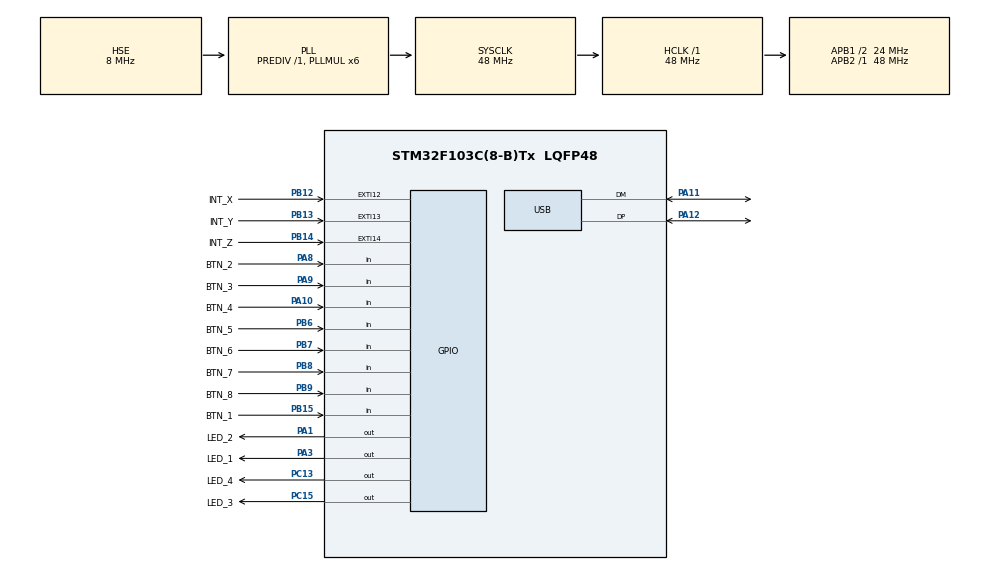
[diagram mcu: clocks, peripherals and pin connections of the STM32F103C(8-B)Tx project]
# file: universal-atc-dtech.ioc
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Mcu.Family=STM32F1
Mcu.Name=STM32F103C(8-B)Tx
Mcu.Package=LQFP48
NVIC.EXTI15_10_IRQn=true\:0\:0\:false\:false\:true\:true\:true\:true
NVIC.PriorityGroup=NVIC_PRIORITYGROUP_4
NVIC.RTC_IRQn=true\:0\:0\:false\:false\:true\:true\:true\:true
NVIC.USB_LP_CAN1_RX0_IRQn=true\:0\:0\:false\:false\:true\:false\:true\:true
PA1.GPIO_Label=LED_2
PA1.Signal=GPIO_Output
PA10.GPIO_Label=BTN_4
PA10.GPIO_Mode=GPIO_MODE_INPUT
PA10.GPIO_PuPd=GPIO_PULLUP
PA10.Signal=GPIO_Input
PA11.Mode=Device
PA11.Signal=USB_DM
PA12.Mode=Device
PA12.Signal=USB_DP
PA3.GPIO_Label=LED_1
PA3.Signal=GPIO_Output
PA8.GPIO_Label=BTN_2
PA8.GPIO_Mode=GPIO_MODE_INPUT
PA8.GPIO_PuPd=GPIO_PULLUP
PA8.Signal=GPIO_Input
PA9.GPIO_Label=BTN_3
PA9.GPIO_Mode=GPIO_MODE_INPUT
PA9.GPIO_PuPd=GPIO_PULLUP
PA9.Signal=GPIO_Input
PB12.GPIO_Label=INT_X
PB12.GPIO_ModeDefaultEXTI=GPIO_MODE_IT_RISING
PB12.GPIO_PuPd=GPIO_NOPULL
PB12.Signal=GPXTI12
PB13.GPIO_Label=INT_Y
PB13.GPIO_ModeDefaultEXTI=GPIO_MODE_IT_RISING
PB13.GPIO_PuPd=GPIO_NOPULL
PB13.Signal=GPXTI13
PB14.GPIO_Label=INT_Z
PB14.GPIO_ModeDefaultEXTI=GPIO_MODE_IT_RISING
PB14.GPIO_PuPd=GPIO_NOPULL
PB14.Signal=GPXTI14
PB15.GPIO_Label=BTN_1
PB15.GPIO_Mode=GPIO_MODE_INPUT
PB15.GPIO_PuPd=GPIO_PULLUP
PB15.Signal=GPIO_Input
PB6.GPIO_Label=BTN_5
PB6.GPIO_Mode=GPIO_MODE_INPUT
PB6.GPIO_PuPd=GPIO_PULLUP
PB6.Signal=GPIO_Input
PB7.GPIO_Label=BTN_6
PB7.GPIO_Mode=GPIO_MODE_INPUT
PB7.GPIO_PuPd=GPIO_PULLUP
PB7.Signal=GPIO_Input
PB8.GPIO_Label=BTN_7
PB8.GPIO_Mode=GPIO_MODE_INPUT
PB8.GPIO_PuPd=GPIO_PULLUP
PB8.Signal=GPIO_Input
PB9.GPIO_Label=BTN_8
PB9.GPIO_Mode=GPIO_MODE_INPUT
PB9.GPIO_PuPd=GPIO_PULLUP
PB9.Signal=GPIO_Input
PC13-TAMPER-RTC.GPIO_Label=LED_4
PC13-TAMPER-RTC.Signal=GPIO_Output
PC15-OSC32_OUT.GPIO_Label=LED_3
PC15-OSC32_OUT.Signal=GPIO_Output
PD0-OSC_IN.Mode=HSE-External-Oscillator
PD0-OSC_IN.Signal=RCC_OSC_IN
PD1-OSC_OUT.Mode=HSE-External-Oscillator
PD1-OSC_OUT.Signal=RCC_OSC_OUT
ProjectManager.HeapSize=0x200
ProjectManager.StackSize=0x400
ProjectManager.TargetToolchain=STM32CubeIDE
RCC.AHBFreq_Value=48000000
RCC.APB1CLKDivider=RCC_HCLK_DIV2
RCC.APB1Freq_Value=24000000
RCC.APB1TimFreq_Value=48000000
RCC.APB2Freq_Value=48000000
RCC.APB2TimFreq_Value=48000000
RCC.HCLKFreq_Value=48000000
RCC.PLLMUL=RCC_PLL_MUL6
RCC.SYSCLKFreq_VALUE=48000000
RCC.SYSCLKSource=RCC_SYSCLKSOURCE_PLLCLK
RCC.USBFreq_Value=48000000
USB_DEVICE.CLASS_NAME_FS=CDC
USB_DEVICE.VirtualMode=Cdc
USB_DEVICE.VirtualModeFS=Cdc_FS
VP_FATFS_VS_Generic.Mode=User_defined
VP_RTC_No_RTC_Output.Mode=RTC_OUT_NO
VP_RTC_VS_RTC_Activate.Mode=RTC_Enabled
VP_SYS_VS_ND.Mode=No_Debug
VP_USB_DEVICE_VS_USB_DEVICE_CDC_FS.Mode=CDC_FS
board=custom

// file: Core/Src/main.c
/* USER CODE BEGIN Header */
/**
 ******************************************************************************
 * @file           : main.c
 * @brief          : Main program body
 ******************************************************************************
 * @attention
 *
 * Copyright (c) 2024 STMicroelectronics.
 * All rights reserved.
 *
 * This software is licensed under terms that can be found in the LICENSE file
 * in the root directory of this software component.
 * If no LICENSE file comes with this software, it is provided AS-IS.
 *
 ******************************************************************************
 */
/* USER CODE END Header */
#include "main.h"
#include "fatfs.h"
#include "usb_device.h"

/* USER CODE BEGIN Includes */
#include "usbd_cdc_if.h"
// #include "string.h"
#include "stdio.h"
#include "FEE.h"
#include <stm32f103xb.h>
/* USER CODE END Includes */

/* USER CODE BEGIN PD */
// #define TIPE_EMULASI 5
#define NUM_LEDS 4
#define NUM_INTERRUPT 3
#define NUM_BUTTONS 8
#define DEBOUNCE_DELAY 50 // Debounce delay dalam ms
#define EMULASI_QUESTION_MARK 1 // 1 output verbose menggunakan ? 0 dengan verbose delay

// definisi address dari variabel yang dapat diubah oleh $
#define SET_WAKTU_TIMER_OLI_ADDRESS ((uint32_t)0x0800F040)     //$1
#define SET_WAKTU_POMPA_OLI_ON_ADDRESS ((uint32_t)0x0800F050)  //$2
#define TIPE_EMULASI_ADDRESS ((uint32_t)0x0800F000)       //$3
#define AUTO_COUNTER_DELAY_ADDRESS ((uint32_t)0x0800F010) //$4
#define VERBOSE_DELAY_ADDRESS ((uint32_t)0x0800F020)      //$5
#define ARAH_AUTO_COUNTER_ADDRESS ((uint32_t)0x0800F030)  //$6 0 aritnya bertambah 1 artinya berkurang

// #define verbose_delay 200 // Debounce delay dalam ms
/* USER CODE END PD */

RTC_HandleTypeDef hrtc;

/* USER CODE BEGIN PV */
/* ----------------------- variabel yang dapat diubah $ --------------------------- */
uint32_t set_waktu_timer_oli; //$1 waktu dalam menit, default 15 menit
uint32_t set_waktu_pompa_oli_on; //$2 waktu dalam detik, default 5 detik
// 0 = emulasi button / switch
// 1 = emulasi latch
// 2 = emulasi counter auto
// 3 = emulasi counter button
// 4 = emulasi input interrupt pulse xyz
// 5 = emulasi board oli mk2
// 6 = hanya echo perintah dari pc
uint32_t tipe_emulasi; //$3 tergantung nilai yang dibaca di eeprom
uint32_t auto_counter_delay; //$4 default 1000 (1 detik)
uint32_t verbose_delay; //$5 default 0
uint32_t arah_auto_counter; //$6 0 aritnya bertambah 1 artinya berkurang

uint8_t nilai_emulasi_counter = 0;
uint32_t waktu_timer_oli = 0;
uint8_t keadaan_pompa_oli = 0;
uint8_t reset_pompa_oli = 0;
uint8_t tampilkan_verbose = 0;
uint8_t baca_dan_tampilkan_flash = 0;
// nilai counter untuk axis x y dan z
volatile int_fast32_t nilai_counter_axis[3] = { 0, 0, 0 };
uint8_t latch_states = 0;
uint8_t button_states = 0;
// list interrupt pin
GPIO_TypeDef *interrupt_ports[NUM_INTERRUPT] = {
INT_X_GPIO_Port, INT_Y_GPIO_Port,
INT_Z_GPIO_Port };
const uint16_t interrupt_pins[NUM_INTERRUPT] = {
INT_X_Pin, INT_Y_Pin, INT_Z_Pin };
// list led gpio
GPIO_TypeDef *led_ports[NUM_LEDS] = {
LED_1_GPIO_Port, LED_2_GPIO_Port,
LED_3_GPIO_Port, LED_4_GPIO_Port };
const uint16_t led_pins[NUM_LEDS] = {
LED_1_Pin, LED_2_Pin, LED_3_Pin, LED_4_Pin };
// list button gpio
GPIO_TypeDef *button_ports[NUM_BUTTONS] = {
BTN_1_GPIO_Port, BTN_2_GPIO_Port, BTN_3_GPIO_Port,
BTN_4_GPIO_Port, BTN_5_GPIO_Port, BTN_6_GPIO_Port,
BTN_7_GPIO_Port, BTN_8_GPIO_Port };
const uint16_t button_pins[NUM_BUTTONS] = {
BTN_1_Pin,
BTN_2_Pin,
BTN_3_Pin,
BTN_4_Pin,
BTN_5_Pin,
BTN_6_Pin,
BTN_7_Pin,
BTN_8_Pin, };
uint32_t last_button_press_time[NUM_BUTTONS] = { 0 }; // Variabel untuk debounce

uint32_t last_verbose_time = 0;
uint32_t last_auto_counter_time = 0;
/* USER CODE END PV */

void SystemClock_Config(void);
static void MX_GPIO_Init(void);
static void MX_RTC_Init(void);
void USB_CDC_RxHandler(uint8_t*, uint32_t);

/* USER CODE BEGIN 0 */
// baca nilai pada flash memory
void baca_nilai_pada_flash(void) {
 FEE_ReadData(SET_WAKTU_TIMER_OLI_ADDRESS, &set_waktu_timer_oli, sizeof(uint32_t));
 FEE_ReadData(SET_WAKTU_POMPA_OLI_ON_ADDRESS, &set_waktu_pompa_oli_on, sizeof(uint32_t));
 FEE_ReadData(TIPE_EMULASI_ADDRESS, &tipe_emulasi, sizeof(uint32_t));
 FEE_ReadData(AUTO_COUNTER_DELAY_ADDRESS, &auto_counter_delay, sizeof(uint32_t));
 FEE_ReadData(VERBOSE_DELAY_ADDRESS, &verbose_delay, sizeof(uint32_t));
 FEE_ReadData(ARAH_AUTO_COUNTER_ADDRESS, &arah_auto_counter, sizeof(uint32_t));
}
// program untuk membaca data dari pc
int _write(int file, char *ptr, int len) {
 CDC_Transmit_FS((uint8_t*) ptr, len);
 return len;
}

void update_leds(uint8_t counter) {
 for (uint8_t i = 0; i < NUM_LEDS; i++) {
  (counter & (1 << i)) ?
   HAL_GPIO_WritePin(led_ports[i], led_pins[i], GPIO_PIN_SET) :
   HAL_GPIO_WritePin(led_ports[i], led_pins[i], GPIO_PIN_RESET); // Nyalakan LED
 }
}

void read_buttons_with_debounce(void) {
 for (uint8_t i = 0; i < 8; i++) {
  uint8_t current_state = HAL_GPIO_ReadPin(button_ports[i], button_pins[i]);
  if (!(current_state) == !(button_states & (1 << i))) {
   if (HAL_GetTick() - last_button_press_time[i] >= DEBOUNCE_DELAY) {
    last_button_press_time[i] = HAL_GetTick();
    /* Perbarui status tombol */
    // aktif low, jika tombol ditekan
    if (!current_state) {
     button_states |= (1 << i); // Set bit tombol
     // latch_states[i] = !latch_states[i];
     latch_states ^= (1 << i); // Balikkan bit pada latch_state
    } else button_states &= ~(1 << i); // Clear bit tombol
    // tambah fitur reset pada program emulasi counter
    switch (i) {
    case 0:
     nilai_emulasi_counter++;
     break;
    case 1:
     nilai_emulasi_counter--;
     break;
    case 2:
     nilai_emulasi_counter = 0;
     break;
    case 3:
     for (int i = 0; i < 3; ++i) {
      nilai_counter_axis[i] = 0;
     }
     break;
    default:
     break;
    }
   }
  }
 }
}

uint8_t update_waktu_timer_oli(uint32_t *waktu_timer_oli, uint32_t *set_waktu_timer_oli,
 uint32_t *set_waktu_pompa_oli_on, uint8_t *reset_pompa) //keadaan spindle atau auto mode
{
 uint8_t keadaan_led = 1;
 if (*reset_pompa == 1) {
  *reset_pompa = 0;
  *waktu_timer_oli = HAL_GetTick() - *set_waktu_timer_oli;
 } else if (HAL_GetTick() - *waktu_timer_oli >= *set_waktu_timer_oli) //nyalakan ketika pertama kali dihidupkan
  {
  keadaan_led = 1;
  if (HAL_GetTick() - (*waktu_timer_oli + *set_waktu_pompa_oli_on)
   >= (*set_waktu_timer_oli + *set_waktu_pompa_oli_on)) //reset waktu timer oli
   {
   *waktu_timer_oli = HAL_GetTick(); //set waktu timer oli jika led sudah waktunya mati
   keadaan_led = 0;
   //	    HAL_GPIO_WritePin(led_ports[0], led_ports[0], GPIO_PIN_RESET);
  }
  //	    HAL_GPIO_WritePin(led_ports[0], led_ports[0], GPIO_PIN_SET); // nyalakan led
 } else keadaan_led = 0;
 return keadaan_led;
}
/* USER CODE END 0 */

int main(void) {

 /* MCU Configuration--------------------------------------------------------*/

 /* Reset of all peripherals, Initializes the Flash interface and the Systick. */
 HAL_Init();

 /* Configure the system clock */
 SystemClock_Config();

 /* Initialize all configured peripherals */
 MX_GPIO_Init();
 MX_USB_DEVICE_Init();
 MX_RTC_Init();
 MX_FATFS_Init();
 /* USER CODE BEGIN 2 */
 baca_nilai_pada_flash();
 /* USER CODE END 2 */

 /* Infinite loop */
 /* USER CODE BEGIN WHILE */
 while (1) {
//  baca dan tampilkan data yang ada pada flash memory
  if (baca_dan_tampilkan_flash == 1) {
   baca_nilai_pada_flash();
   printf("$1 = %ld\r\n", set_waktu_timer_oli);
   printf("$2 = %ld\r\n", set_waktu_pompa_oli_on);
   printf("$3 = %ld\r\n", tipe_emulasi);
   printf("$4 = %ld\r\n", auto_counter_delay);
   printf("$5 = %ld\r\n", verbose_delay);
   printf("$6 = %ld\r\n", arah_auto_counter);
   baca_dan_tampilkan_flash = 0;
  }

  read_buttons_with_debounce(); // baca nilai tombol

  /* ----------------------- program untuk melakukan komputasi / simulasi tombol --------------------------- */
  // tipe button / simulasi
  switch (tipe_emulasi) {
  case 0: // tipe switch
   update_leds(button_states);
//	    for (uint8_t i = 0; i < NUM_LEDS; i++)
//		(button_states & (1 << i)) ?
//			HAL_GPIO_WritePin(led_ports[i], led_pins[i],
//				GPIO_PIN_SET) :
//			HAL_GPIO_WritePin(led_ports[i], led_pins[i],
//				GPIO_PIN_RESET);
   break;
  case 1: // tipe latch
   update_leds(latch_states);
   break;
  case 2: // tipe auto counter
   if (HAL_GetTick() - last_auto_counter_time >= auto_counter_delay) {
    last_auto_counter_time = HAL_GetTick();
    arah_auto_counter == 0 ?
     update_leds(nilai_emulasi_counter++) : update_leds(nilai_emulasi_counter--);
   }
   break;
  case 3: // tipe button counter
   update_leds(nilai_emulasi_counter);
   break;
  case 4: // tipe emulasi counter xyz. do nothing karena sudah dihandle interrupt
   break;
  case 5: // tipe simulasi board oli mk2b
   if (!(latch_states & (1 << 6))) { //oli tidak habis
    if (reset_pompa_oli == 1) { // dalam keadaan reset pompa oli
     if (update_waktu_timer_oli(&waktu_timer_oli, &set_waktu_timer_oli, &set_waktu_pompa_oli_on,
      &reset_pompa_oli) == 1) keadaan_pompa_oli = 1;
     else keadaan_pompa_oli = 0;
    } else if ((latch_states & (1 << 7))) { //spindle berjalan, auto mode
     if (update_waktu_timer_oli(&waktu_timer_oli, &set_waktu_timer_oli, &set_waktu_pompa_oli_on, 0)
      == 1) keadaan_pompa_oli = 1;
     else keadaan_pompa_oli = 0;
    } else keadaan_pompa_oli = 0;
   } else keadaan_pompa_oli = 0;

   // nyalakan led berdasarkan keadaan tombol
   if (latch_states & (1 << 7)) //m3 aktif
   HAL_GPIO_WritePin(led_ports[3], led_pins[3], GPIO_PIN_SET);
   else HAL_GPIO_WritePin(led_ports[3], led_pins[3], GPIO_PIN_RESET);
   if (latch_states & (1 << 6)) // oli habis
   HAL_GPIO_WritePin(led_ports[2], led_pins[2], GPIO_PIN_SET);
   else HAL_GPIO_WritePin(led_ports[2], led_pins[2], GPIO_PIN_RESET);

   keadaan_pompa_oli == 1 ?
    HAL_GPIO_WritePin(led_ports[0], led_pins[0], GPIO_PIN_SET) :
    HAL_GPIO_WritePin(led_ports[0], led_pins[0], GPIO_PIN_RESET);
   break;

  default:
   break;
  }

  /* ----------------------- program menampilkan karakter dan verbose --------------------------- */
  // tampilkan verbose button
#if EMULASI_QUESTION_MARK == 0
  if (HAL_GetTick() - last_verbose_time >= verbose_delay) {
   last_verbose_time = HAL_GetTick();
#else
  if (tampilkan_verbose == 1) {
   tampilkan_verbose = 0;
#endif
   switch (tipe_emulasi) {
   case 0:
   case 1:
   case 2:
   case 3:
    printf("%d,%d,%d\r\n", button_states, latch_states, nilai_emulasi_counter);
    break;
   case 4:
    printf("%ld,", HAL_GetTick()); // dapatkan nilai waktu untuk mendapatkan nilai akselerasi
    for (uint8_t i = 0; i < NUM_INTERRUPT; ++i) {
     //		i == 0 ? printf("X,") : i == 1 ? printf("Y,") : printf("Z,");
     i != NUM_INTERRUPT - 1 ?
      printf("%d,", nilai_counter_axis[i]) : printf("%d", nilai_counter_axis[i]);
    }
    printf("\r\n"); // enter untuk merapikan verbose
    break;
   case 5:
    printf("O:");
    (latch_states & (1 << 7)) ? printf("M") : 0; // m3 aktif
    (latch_states & (1 << 6)) ? printf("E") : 0; // oli habis
    (keadaan_pompa_oli == 1) ? printf("H") : 0;
    printf("\r\n"); //enter untuk merapikan
    break;
   default:
    printf("perintah tidak valid \r\n"); // enter untuk merapikan verbose
    break;
   }
  }
 }
 /* USER CODE END WHILE */

}

void SystemClock_Config(void) {
 RCC_OscInitTypeDef RCC_OscInitStruct = { 0 };
 RCC_ClkInitTypeDef RCC_ClkInitStruct = { 0 };
 RCC_PeriphCLKInitTypeDef PeriphClkInit = { 0 };

 /** Initializes the RCC Oscillators according to the specified parameters
  * in the RCC_OscInitTypeDef structure.
  */
 RCC_OscInitStruct.OscillatorType = RCC_OSCILLATORTYPE_LSI | RCC_OSCILLATORTYPE_HSE;
 RCC_OscInitStruct.HSEState = RCC_HSE_ON;
 RCC_OscInitStruct.HSEPredivValue = RCC_HSE_PREDIV_DIV1;
 RCC_OscInitStruct.HSIState = RCC_HSI_ON;
 RCC_OscInitStruct.LSIState = RCC_LSI_ON;
 RCC_OscInitStruct.PLL.PLLState = RCC_PLL_ON;
 RCC_OscInitStruct.PLL.PLLSource = RCC_PLLSOURCE_HSE;
 RCC_OscInitStruct.PLL.PLLMUL = RCC_PLL_MUL6;
 if (HAL_RCC_OscConfig(&RCC_OscInitStruct) != HAL_OK) {
  Error_Handler();
 }

 /** Initializes the CPU, AHB and APB buses clocks
  */
 RCC_ClkInitStruct.ClockType = RCC_CLOCKTYPE_HCLK | RCC_CLOCKTYPE_SYSCLK | RCC_CLOCKTYPE_PCLK1
  | RCC_CLOCKTYPE_PCLK2;
 RCC_ClkInitStruct.SYSCLKSource = RCC_SYSCLKSOURCE_PLLCLK;
 RCC_ClkInitStruct.AHBCLKDivider = RCC_SYSCLK_DIV1;
 RCC_ClkInitStruct.APB1CLKDivider = RCC_HCLK_DIV2;
 RCC_ClkInitStruct.APB2CLKDivider = RCC_HCLK_DIV1;

 if (HAL_RCC_ClockConfig(&RCC_ClkInitStruct, FLASH_LATENCY_1) != HAL_OK) {
  Error_Handler();
 }
 PeriphClkInit.PeriphClockSelection = RCC_PERIPHCLK_RTC | RCC_PERIPHCLK_USB;
 PeriphClkInit.RTCClockSelection = RCC_RTCCLKSOURCE_LSI;
 PeriphClkInit.UsbClockSelection = RCC_USBCLKSOURCE_PLL;
 if (HAL_RCCEx_PeriphCLKConfig(&PeriphClkInit) != HAL_OK) {
  Error_Handler();
 }
}

static void MX_RTC_Init(void) {

 RTC_TimeTypeDef sTime = { 0 };
 RTC_DateTypeDef DateToUpdate = { 0 };

 /** Initialize RTC Only
  */
 hrtc.Instance = RTC;
 hrtc.Init.AsynchPrediv = RTC_AUTO_1_SECOND;
 hrtc.Init.OutPut = RTC_OUTPUTSOURCE_NONE;
 if (HAL_RTC_Init(&hrtc) != HAL_OK) {
  Error_Handler();
 }

 /** Initialize RTC and set the Time and Date
  */
 sTime.Hours = 0x0;
 sTime.Minutes = 0x0;
 sTime.Seconds = 0x0;

 if (HAL_RTC_SetTime(&hrtc, &sTime, RTC_FORMAT_BCD) != HAL_OK) {
  Error_Handler();
 }
 DateToUpdate.WeekDay = RTC_WEEKDAY_MONDAY;
 DateToUpdate.Month = RTC_MONTH_JANUARY;
 DateToUpdate.Date = 0x1;
 DateToUpdate.Year = 0x0;

 if (HAL_RTC_SetDate(&hrtc, &DateToUpdate, RTC_FORMAT_BCD) != HAL_OK) {
  Error_Handler();
 }
}

static void MX_GPIO_Init(void) {
 GPIO_InitTypeDef GPIO_InitStruct = { 0 };

 /* GPIO Ports Clock Enable */
 __HAL_RCC_GPIOC_CLK_ENABLE();
 __HAL_RCC_GPIOD_CLK_ENABLE();
 __HAL_RCC_GPIOA_CLK_ENABLE();
 __HAL_RCC_GPIOB_CLK_ENABLE();

 /*Configure GPIO pin Output Level */
 HAL_GPIO_WritePin(GPIOC, LED_4_Pin | LED_3_Pin, GPIO_PIN_RESET);

 /*Configure GPIO pin Output Level */
 HAL_GPIO_WritePin(GPIOA, LED_2_Pin | LED_1_Pin, GPIO_PIN_RESET);

 /*Configure GPIO pins : LED_4_Pin LED_3_Pin */
 GPIO_InitStruct.Pin = LED_4_Pin | LED_3_Pin;
 GPIO_InitStruct.Mode = GPIO_MODE_OUTPUT_PP;
 GPIO_InitStruct.Pull = GPIO_NOPULL;
 GPIO_InitStruct.Speed = GPIO_SPEED_FREQ_LOW;
 HAL_GPIO_Init(GPIOC, &GPIO_InitStruct);

 /*Configure GPIO pins : LED_2_Pin LED_1_Pin */
 GPIO_InitStruct.Pin = LED_2_Pin | LED_1_Pin;
 GPIO_InitStruct.Mode = GPIO_MODE_OUTPUT_PP;
 GPIO_InitStruct.Pull = GPIO_NOPULL;
 GPIO_InitStruct.Speed = GPIO_SPEED_FREQ_LOW;
 HAL_GPIO_Init(GPIOA, &GPIO_InitStruct);

 /*Configure GPIO pins : INT_X_Pin INT_Y_Pin INT_Z_Pin */
 GPIO_InitStruct.Pin = INT_X_Pin | INT_Y_Pin | INT_Z_Pin;
 GPIO_InitStruct.Mode = GPIO_MODE_IT_RISING;
 GPIO_InitStruct.Pull = GPIO_NOPULL;
 HAL_GPIO_Init(GPIOB, &GPIO_InitStruct);

 /*Configure GPIO pins : BTN_1_Pin BTN_5_Pin BTN_6_Pin BTN_7_Pin
  BTN_8_Pin */
 GPIO_InitStruct.Pin = BTN_1_Pin | BTN_5_Pin | BTN_6_Pin | BTN_7_Pin | BTN_8_Pin;
 GPIO_InitStruct.Mode = GPIO_MODE_INPUT;
 GPIO_InitStruct.Pull = GPIO_PULLUP;
 HAL_GPIO_Init(GPIOB, &GPIO_InitStruct);

 /*Configure GPIO pins : BTN_2_Pin BTN_3_Pin BTN_4_Pin */
 GPIO_InitStruct.Pin = BTN_2_Pin | BTN_3_Pin | BTN_4_Pin;
 GPIO_InitStruct.Mode = GPIO_MODE_INPUT;
 GPIO_InitStruct.Pull = GPIO_PULLUP;
 HAL_GPIO_Init(GPIOA, &GPIO_InitStruct);

 /* EXTI interrupt init*/
 HAL_NVIC_SetPriority(EXTI15_10_IRQn, 0, 0);
 HAL_NVIC_EnableIRQ(EXTI15_10_IRQn);

}

/* USER CODE BEGIN 4 */
// untuk menerima pesan dari pc
void USB_CDC_RxHandler(uint8_t *Buf, uint32_t Len) {
 /* Pastikan string berakhir dengan null-terminator */
 Buf[Len] = '\0';

 /* Periksa apakah perintah dimulai dengan '$' */
 if (Buf[0] == '$') {
  char *token = strtok((char*) Buf, "="); // Pisahkan berdasarkan '='
  if (token != NULL && strcmp(token, "$1") == 0) {
   /* Ambil nilai setelah '=' */
   char *value = strtok(NULL, "=");
   if (value != NULL) {
    /* Ubah nilai variabel mode_emulasi */
    set_waktu_timer_oli = atoi(value);
    FEE_WriteData(SET_WAKTU_TIMER_OLI_ADDRESS, &set_waktu_timer_oli, sizeof(uint32_t));
    printf("waktu oli diatur ke %ld\n", set_waktu_timer_oli);
   }
  } else if (token != NULL && strcmp(token, "$2") == 0) {
   char *value = strtok(NULL, "=");
   if (value != NULL) {
    set_waktu_pompa_oli_on = atoi(value);
    FEE_WriteData(SET_WAKTU_POMPA_OLI_ON_ADDRESS, &set_waktu_pompa_oli_on, sizeof(uint32_t));
    printf("waktu oli on diatur ke %ld\n", set_waktu_pompa_oli_on);
   }
  } else if (token != NULL && strcmp(token, "$3") == 0) {
   char *value = strtok(NULL, "=");
   if (value != NULL) {
    tipe_emulasi = atoi(value);
    FEE_WriteData(TIPE_EMULASI_ADDRESS, &tipe_emulasi, sizeof(uint32_t));
    printf("Mode Emulasi diatur ke %ld\n", tipe_emulasi);
   }
  } else if (token != NULL && strcmp(token, "$4") == 0) {
   char *value = strtok(NULL, "=");
   if (value != NULL) {
    auto_counter_delay = atoi(value);
    FEE_WriteData(AUTO_COUNTER_DELAY_ADDRESS, &auto_counter_delay, sizeof(uint32_t));
    printf("auto counter delay diatur ke %ld\n", auto_counter_delay);
   }
  } else if (token != NULL && strcmp(token, "$5") == 0) {
   char *value = strtok(NULL, "=");
   if (value != NULL) {
    verbose_delay = atoi(value);
    FEE_WriteData(VERBOSE_DELAY_ADDRESS, &verbose_delay, sizeof(uint32_t));
    printf("verbose delay diatur ke %ld\n", verbose_delay);
   }
  } else if (token != NULL && strcmp(token, "$6") == 0) {
   char *value = strtok(NULL, "=");
   if (value != NULL) {
    arah_auto_counter = atoi(value);
    FEE_WriteData(ARAH_AUTO_COUNTER_ADDRESS, &arah_auto_counter, sizeof(uint32_t));
    printf("arah auto counter diatur ke %ld\n", arah_auto_counter);
   }
  } else if (token != NULL && strcmp(token, "$$") == 0) {
   // perlihatkan apa yang ada pada flash memory (simpanan pengaturan)
   baca_dan_tampilkan_flash = 1;
  } else printf("Perintah tidak valid\n");
 } else if (Buf[0] == 'Q') {
  reset_pompa_oli = 1;
  printf("pompa oli diaktifkan manual\n");
 } else if (Buf[0] == '?') {
  tampilkan_verbose = 1;
 } else printf("Perintah tidak valid\n");

}

// untuk callback fungsi interrupt pulse driver x y dan z
void HAL_GPIO_EXTI_Callback(uint16_t GPIO_Pin) {
 for (uint8_t i = 0; i < NUM_INTERRUPT; ++i)
  if (GPIO_Pin == interrupt_pins[i]) // If The INT Source Is EXTI Line9 (A9 Pin)
  HAL_GPIO_ReadPin(button_ports[i], button_pins[i]) == 1 ?
   nilai_counter_axis[i]++ : nilai_counter_axis[i]--;
}
/* USER CODE END 4 */

void Error_Handler(void) {
 __disable_irq();
 while (1) {
 }
}
